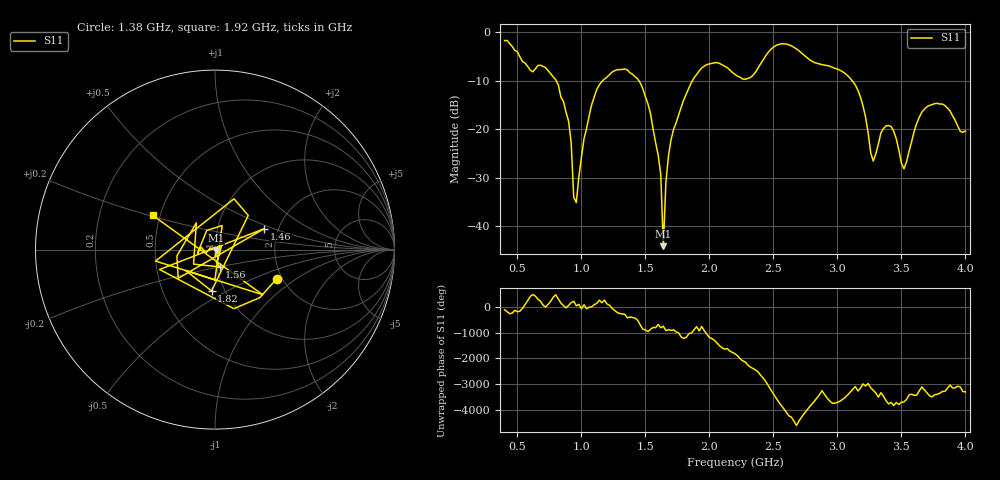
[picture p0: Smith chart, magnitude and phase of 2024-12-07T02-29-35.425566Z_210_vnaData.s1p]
!Created with skrf (http://scikit-rf.org).
# Hz S RI R 50.0
!freq ReS11 ImS11
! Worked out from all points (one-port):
!   181 points, 400 MHz to 4 GHz, reference 50 ohm
!   lowest |S11| = -44.1 dB at 1.64 GHz (marker M1), VSWR 1.01, Z = 50.6 - j0.287 ohm
!   |S11| at or under -10 dB: 802.7 MHz to 1.168 GHz (365.2 MHz wide, 37.1 % of centre); 1.448 GHz to 1.868 GHz (420.5 MHz wide, 25.4 % of centre); 3.114 GHz to end of sweep
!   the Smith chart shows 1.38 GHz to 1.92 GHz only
!   S11 on the Smith chart (normalised r, x): 1.38 GHz: 1.87, -0.71; 1.46 GHz: 1.69, +0.43; 1.56 GHz: 1.03, -0.20; 1.82 GHz: 0.87, -0.42; 1.92 GHz: 0.45, +0.21
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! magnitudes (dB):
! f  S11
! 400 MHz  -1.8
! 860 MHz  -14.3
! 900 MHz  -18.4
! 940 MHz  -34.0
! 960 MHz  -35.1
! 1.02 GHz  -22.0
! 1.1 GHz  -13.4
! 1.3 GHz  -7.8
! 1.38 GHz  -8.4
! 1.46 GHz  -10.5
! 1.56 GHz  -20.0
! 1.62 GHz  -29.3
! 1.64 GHz  -44.1
! 1.66 GHz  -31.0
! 1.68 GHz  -25.5
! 1.76 GHz  -17.1
! 1.82 GHz  -12.7
! 1.92 GHz  -8.0
! 2.2 GHz  -8.7
! 2.66 GHz  -3.2
! 3.1 GHz  -9.5
! 3.2 GHz  -15.2
! 3.28 GHz  -26.6
! 3.38 GHz  -19.3
! 3.52 GHz  -28.2
! 3.56 GHz  -24.5
! 3.72 GHz  -15.1
! 4 GHz  -20.4
